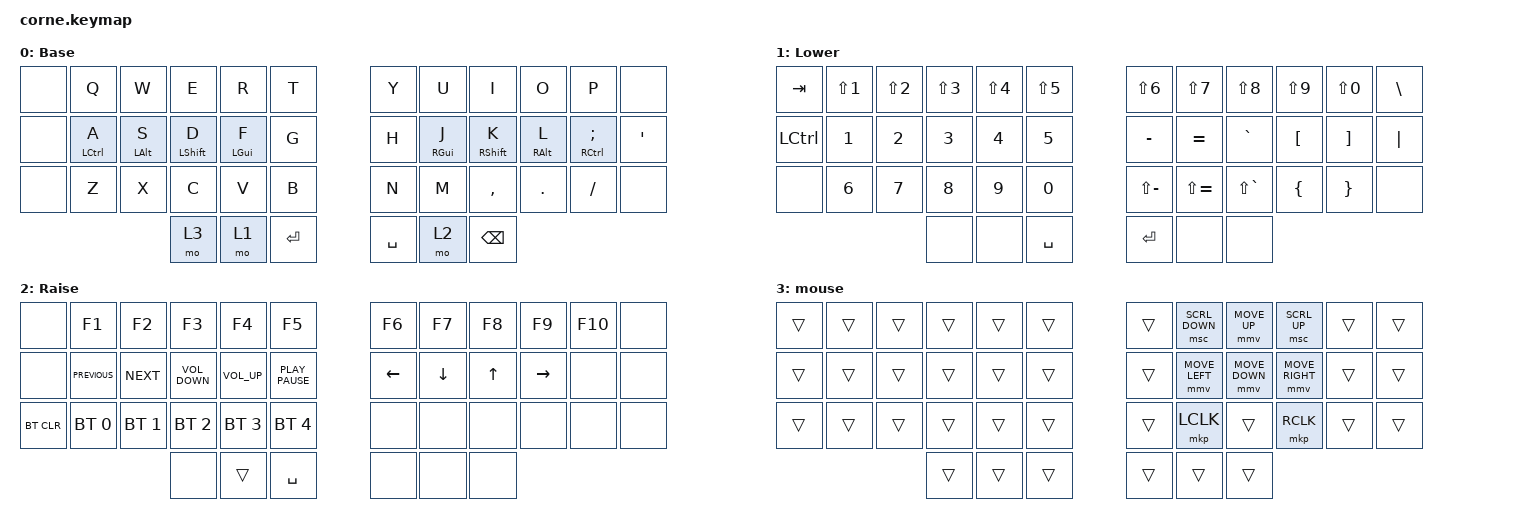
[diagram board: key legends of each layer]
/*
 * Copyright (c) 2020 The ZMK Contributors
 *
 * SPDX-License-Identifier: MIT
 */

#include <behaviors.dtsi>
#include <dt-bindings/zmk/bt.h>
#include <dt-bindings/zmk/keys.h>
#include <dt-bindings/zmk/pointing.h>

/ {
    behaviors {
        home_row_left: home_row_left {
            compatible = "zmk,behavior-hold-tap";
            label = "HOME_ROW_LEFT";
            bindings = <&kp>, <&kp>;

            #binding-cells = <2>;
            tapping-term-ms = <500>;
            hold-trigger-key-positions = <6 7 8 9 10 11 18 19 20 21 22 23 30 31 32 33 34 35 39 40 41 38>;
            require-prior-idle-ms = <200>;
            flavor = "balanced";
            quick-tap-ms = <175>;
            hold-trigger-on-release;
        };

        home_row_right: home_row_right {
            compatible = "zmk,behavior-hold-tap";
            label = "HOME_ROW_RIGHT";
            bindings = <&kp>, <&kp>;

            #binding-cells = <2>;
            tapping-term-ms = <500>;
            require-prior-idle-ms = <200>;
            hold-trigger-key-positions = <0 1 2 3 4 5 12 13 14 15 16 17 24 25 26 27 28 29 36 37 38>;
            flavor = "balanced";
            quick-tap-ms = <175>;
            hold-trigger-on-release;
        };
    };

    combos {
        compatible = "zmk,combos";

        escape {
            bindings = <&kp ESCAPE>;
            key-positions = <8 9>;
            require-prior-idle-ms = <120>;
            timeout-ms = <30>;
            layers = <0 1 2>;
        };

        backspace {
            bindings = <&kp BACKSPACE>;
            key-positions = <7 8>;
            require-prior-idle-ms = <120>;
            timeout-ms = <30>;
            layers = <0 1 2>;
        };

        tab {
            bindings = <&kp TAB>;
            key-positions = <13 14>;
            timeout-ms = <30>;
            require-prior-idle-ms = <120>;
            layers = <0 1 2>;
        };

        copy {
            bindings = <&kp LG(C)>;
            key-positions = <27 28>;
            timeout-ms = <30>;
            require-prior-idle-ms = <120>;
            layers = <0 1 2>;
        };

        paste {
            bindings = <&kp LG(V)>;
            key-positions = <27 26>;
            timeout-ms = <30>;
            require-prior-idle-ms = <120>;
            layers = <0 1 2>;
        };

        cut {
            bindings = <&kp LG(X)>;
            key-positions = <26 28>;
            timeout-ms = <30>;
            require-prior-idle-ms = <120>;
            layers = <0 1 2>;
        };

        left_paren {
            bindings = <&kp LEFT_PARENTHESIS>;
            key-positions = <19 20>;
            timeout-ms = <30>;
            require-prior-idle-ms = <120>;
            layers = <0 1 2>;
        };

        right_paren {
            bindings = <&kp RIGHT_PARENTHESIS>;
            key-positions = <20 21>;
            timeout-ms = <30>;
            require-prior-idle-ms = <120>;
            layers = <0 1 2>;
        };

        left_bracket {
            bindings = <&kp LEFT_BRACKET>;
            key-positions = <31 32>;
            timeout-ms = <30>;
            require-prior-idle-ms = <120>;
            layers = <0 1 2>;
        };

        right_bracket {
            bindings = <&kp RIGHT_BRACKET>;
            key-positions = <32 33>;
            timeout-ms = <30>;
            require-prior-idle-ms = <120>;
            layers = <0 1 2>;
        };
    };

    keymap {
        compatible = "zmk,keymap";

        default_layer {
            // -----------------------------------------------------------------------------------------
            // |  TAB |  Q  |  W  |  E  |  R  |  T  |   |  Y  |  U   |  I  |  O  |  P  | BKSP |
            // | CTRL |  A  |  S  |  D  |  F  |  G  |   |  H  |  J   |  K  |  L  |  ;  |  '   |
            // | SHFT |  Z  |  X  |  C  |  V  |  B  |   |  N  |  M   |  ,  |  .  |  /  | ESC  |
            //                    | GUI | LWR | SPC |   | ENT | RSE  | ALT |

            display-name = "Base";
            bindings = <
&none  &kp Q                          &kp W                      &kp E                        &kp R                      &kp T        &kp Y      &kp U                        &kp I                          &kp O                        &kp P                               &none
&none  &home_row_left LEFT_CONTROL A  &home_row_left LEFT_ALT S  &home_row_left LEFT_SHIFT D  &home_row_left LEFT_GUI F  &kp G        &kp H      &home_row_right RIGHT_GUI J  &home_row_right RIGHT_SHIFT K  &home_row_right RIGHT_ALT L  &home_row_right RIGHT_CONTROL SEMI  &kp SQT
&none  &kp Z                          &kp X                      &kp C                        &kp V                      &kp B        &kp N      &kp M                        &kp COMMA                      &kp DOT                      &kp FSLH                            &none
                                                                 &mo 3                        &mo 1                      &kp ENTER    &kp SPACE  &mo 2                        &kp BACKSPACE
            >;
        };

        lower_layer {
            // -----------------------------------------------------------------------------------------
            // |  TAB |  1  |  2  |  3  |  4  |  5  |   |  6  |  7  |  8  |  9  |  0  | BKSP |
            // | BTCLR| BT1 | BT2 | BT3 | BT4 | BT5 |   | LFT | DWN |  UP | RGT |     |      |
            // | SHFT |     |     |     |     |     |   |     |     |     |     |     |      |
            //                    | GUI |     | SPC |   | ENT |     | ALT |

            display-name = "Lower";
            bindings = <
&kp TAB           &kp LS(N1)    &kp LS(N2)    &kp LS(N3)    &kp LS(N4)    &kp LS(N5)    &kp LS(N6)     &kp LS(N7)     &kp LS(N8)     &kp LS(N9)        &kp LS(N0)         &kp BACKSLASH
&kp LEFT_CONTROL  &kp NUMBER_1  &kp NUMBER_2  &kp NUMBER_3  &kp NUMBER_4  &kp N5        &kp MINUS      &kp EQUAL      &kp GRAVE      &kp LEFT_BRACKET  &kp RIGHT_BRACKET  &kp PIPE
&none             &kp NUMBER_6  &kp N7        &kp N8        &kp N9        &kp N0        &kp LS(MINUS)  &kp LS(EQUAL)  &kp LS(GRAVE)  &kp LEFT_BRACE    &kp RIGHT_BRACE    &none
                                              &none         &none         &kp SPACE     &kp RET        &none          &none
            >;
        };

        raise_layer {
            // -----------------------------------------------------------------------------------------
            // |  TAB |  !  |  @  |  #  |  $  |  %  |   |  ^  |  &  |  *  |  (  |  )  | BKSP |
            // | CTRL |     |     |     |     |     |   |  -  |  =  |  [  |  ]  |  \  |  `   |
            // | SHFT |     |     |     |     |     |   |  _  |  +  |  {  |  }  | "|" |  ~   |
            //                    | GUI |     | SPC |   | ENT |     | ALT |

            display-name = "Raise";
            bindings = <
&none       &kp F1          &kp F2        &kp F3             &kp F4           &kp F5              &kp F6    &kp F7    &kp F8        &kp F9     &kp F10  &none
&none       &kp K_PREVIOUS  &kp K_NEXT    &kp K_VOLUME_DOWN  &kp K_VOLUME_UP  &kp K_PLAY_PAUSE    &kp LEFT  &kp DOWN  &kp UP_ARROW  &kp RIGHT  &none    &none
&bt BT_CLR  &bt BT_SEL 0    &bt BT_SEL 1  &bt BT_SEL 2       &bt BT_SEL 3     &bt BT_SEL 4        &none     &none     &none         &none      &none    &none
                                          &none              &trans           &kp SPACE           &none     &none     &none
            >;
        };

        mouse {
            bindings = <
&trans  &trans  &trans  &trans  &trans  &trans    &trans  &msc SCRL_DOWN  &mmv MOVE_UP    &msc SCRL_UP     &trans  &trans
&trans  &trans  &trans  &trans  &trans  &trans    &trans  &mmv MOVE_LEFT  &mmv MOVE_DOWN  &mmv MOVE_RIGHT  &trans  &trans
&trans  &trans  &trans  &trans  &trans  &trans    &trans  &mkp LCLK       &trans          &mkp RCLK        &trans  &trans
                        &trans  &trans  &trans    &trans  &trans          &trans
            >;
        };
    };
};
